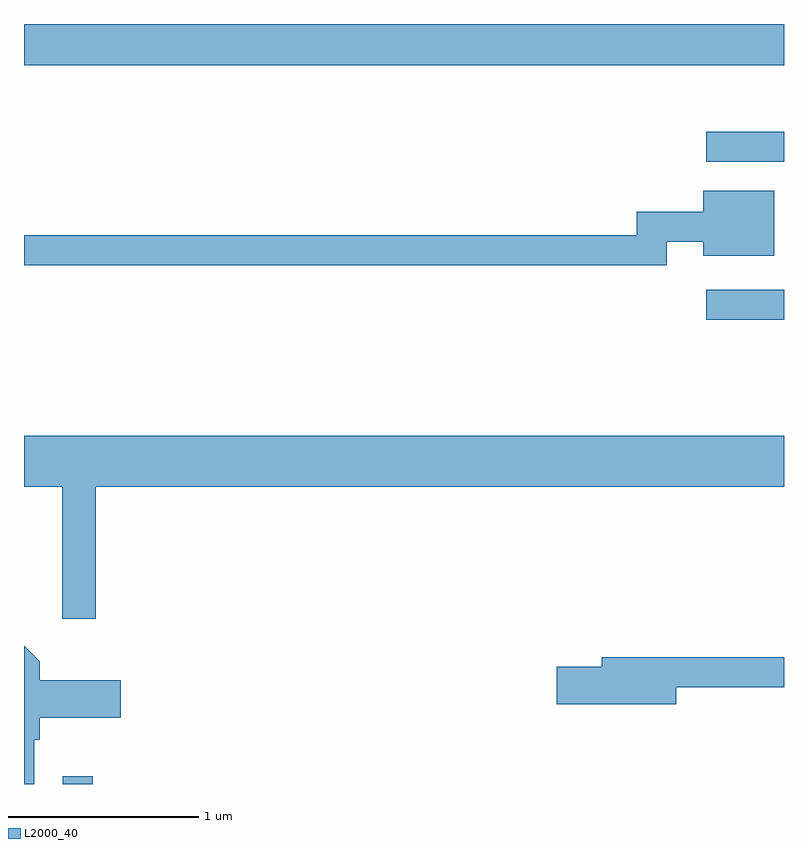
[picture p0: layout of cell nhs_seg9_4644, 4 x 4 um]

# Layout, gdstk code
import gdstk
lib = gdstk.Library(unit=1e-6, precision=1e-09)
def R(c, l, rs):  # rectangles x0, y0, x1, y1
    for r in rs: c.add(gdstk.rectangle(r[:2], r[2:], *l))
def P(c, l, *ps):  # polygons
    for p in ps: c.add(gdstk.Polygon(p, *l))
L2000_40 = (2000, 40)

nhs_seg9_4644 = lib.new_cell('nhs_seg9_4644')
R(nhs_seg9_4644, L2000_40, [(321.816,2032.432,321.974,2032.473), (325.203,2034.876,325.611,2035.034), (325.203,2035.706,325.611,2035.864), (321.611,2036.216,325.611,2036.432)])
P(nhs_seg9_4644, L2000_40, [(324.994,2035.286),(325.186,2035.286),(325.186,2035.211),(325.559,2035.211),(325.559,2035.554),(325.186,2035.554),(325.186,2035.444),(324.836,2035.444),(324.836,2035.319),(321.611,2035.319),(321.611,2035.161),(324.994,2035.161)],
  [(321.989,2033.996),(325.611,2033.996),(325.611,2034.264),(321.611,2034.264),(321.611,2033.996),(321.811,2033.996),(321.811,2033.301),(321.989,2033.301)],
  [(321.664,2032.666),(321.694,2032.666),(321.694,2032.781),(322.119,2032.781),(322.119,2032.979),(321.694,2032.979),(321.694,2033.077),(321.611,2033.16),(321.611,2032.432),(321.664,2032.432)],
  [(325.044,2032.941),(325.611,2032.941),(325.611,2033.099),(324.651,2033.099),(324.651,2033.049),(324.416,2033.049),(324.416,2032.851),(325.044,2032.851)])

lib.write_gds('nhs_seg9_4644.gds')
